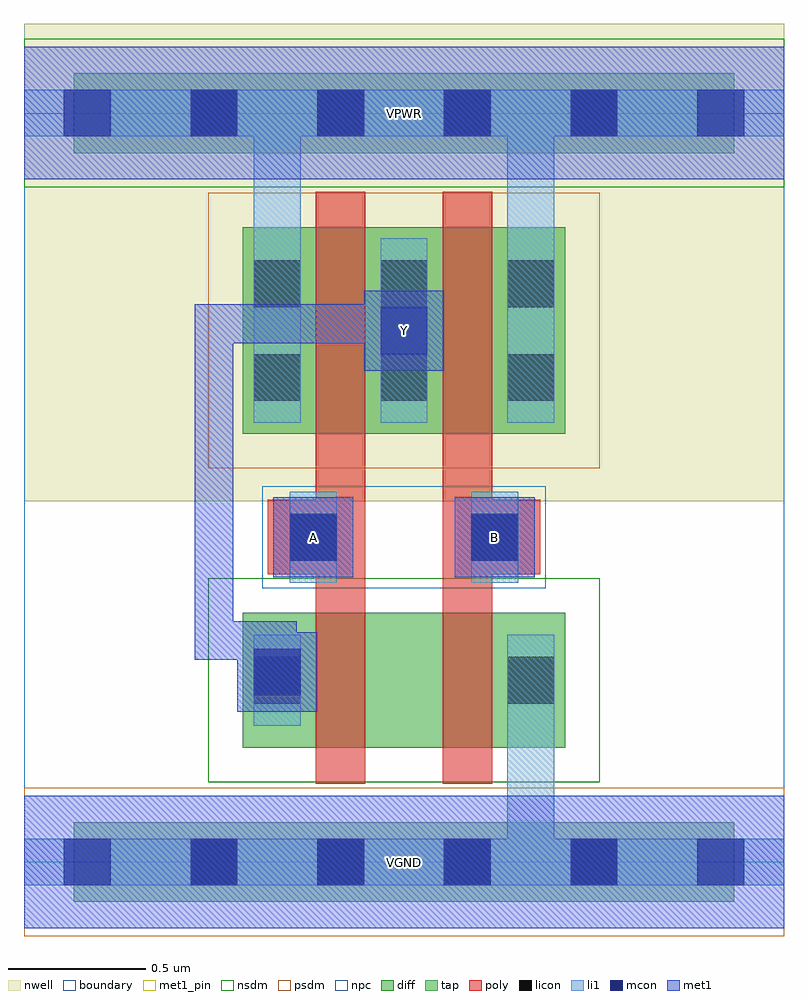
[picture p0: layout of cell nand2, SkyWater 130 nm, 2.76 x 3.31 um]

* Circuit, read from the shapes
.subckt nand2 A B VGND VPWR Y
XM1 n1 A Y VGND sky130_fd_pr__nfet_01v8 w=0.49 l=0.18
XM2 VGND B n1 VGND sky130_fd_pr__nfet_01v8 w=0.49 l=0.18
XM3 Y A VPWR VPWR sky130_fd_pr__pfet_01v8 w=0.75 l=0.18
XM4 VPWR B Y VPWR sky130_fd_pr__pfet_01v8 w=0.75 l=0.18
.ends

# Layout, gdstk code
import gdstk
lib = gdstk.Library(unit=1e-6, precision=1e-09)
def R(c, l, rs):  # rectangles x0, y0, x1, y1
    for r in rs: c.add(gdstk.rectangle(r[:2], r[2:], *l))
def A(c, l, x, y, w, h, nx, ny, dx, dy):  # array of equal rectangles
    R(c, l, [(x+i*dx, y+j*dy, x+i*dx+w, y+j*dy+h) for i in range(nx) for j in range(ny)])
nwell = (64, 20)
diff = (65, 20)
tap = (65, 44)
poly = (66, 20)
licon = (66, 44)
li1 = (67, 20)
mcon = (67, 44)
met1_pin = (68, 16)
met1 = (68, 20)
nsdm = (93, 44)
psdm = (94, 20)
npc = (95, 20)
boundary = (235, 4)

nand2 = lib.new_cell('nand2')
R(nand2, nwell, [(0,1.31,2.76,3.045)])
R(nand2, diff, [(0.795,0.415,1.965,0.905), (0.795,1.555,1.965,2.305)])
R(nand2, tap, [(0.18,-0.145,2.58,0.145), (0.18,2.575,2.58,2.865)])
R(nand2, poly, [(1.06,0.285,1.24,2.435), (1.52,0.285,1.7,2.435), (0.885,1.045,1.215,1.315), (1.545,1.045,1.875,1.315)])
A(nand2, licon, 0.605, -0.085, 0.17, 0.17, 4, 2, 0.46, 2.72)
A(nand2, licon, 0.835, 1.675, 0.17, 0.17, 3, 2, 0.46, 0.34)
R(nand2, licon, [(0.835,0.575,1.005,0.745), (1.755,0.575,1.925,0.745), (0.965,1.095,1.135,1.265), (1.625,1.095,1.795,1.265)])
A(nand2, li1, 0.835, 1.595, 0.17, 0.67, 3, 1, 0.46, 0)
R(nand2, li1, [(0,-0.085,2.76,0.085), (1.755,-0.085,1.925,0.825), (0.835,0.495,1.005,0.825), (1.755,0.495,1.925,0.825), (0.965,1.015,1.135,1.345), (1.625,1.015,1.795,1.345), (0.835,1.595,1.005,2.805), (1.755,1.595,1.925,2.805), (0,2.635,2.76,2.805)])
A(nand2, mcon, 0.145, -0.085, 0.17, 0.17, 6, 2, 0.46, 2.72)
R(nand2, mcon, [(0.835,0.605,1.005,0.775), (0.965,1.095,1.135,1.265), (1.625,1.095,1.795,1.265), (1.295,1.845,1.465,2.015)])
R(nand2, met1_pin, [(0,-0.24,2.76,0.24), (0.905,1.035,1.195,1.325), (1.565,1.035,1.855,1.325), (1.235,1.785,1.525,2.075), (0,2.48,2.76,2.96)])
R(nand2, met1, [(0,-0.24,2.76,0.24), (0.775,0.545,1.065,0.835), (0.85,0.62,0.99,0.875), (0.62,0.735,0.99,0.875), (0.62,0.735,0.76,2.025), (0.905,1.035,1.195,1.325), (1.565,1.035,1.855,1.325), (1.235,1.785,1.525,2.075), (0.62,1.885,1.45,2.025), (1.31,1.885,1.45,2.025), (0,2.48,2.76,2.96)])
R(nand2, nsdm, [(0.67,0.29,2.09,1.03), (0,2.45,2.76,2.99)])
R(nand2, psdm, [(0,-0.27,2.76,0.27), (0.67,1.43,2.09,2.43)])
R(nand2, npc, [(0.865,0.995,1.895,1.365)])
R(nand2, boundary, [(0,0,2.76,2.72)])
nand2.add(gdstk.Label('A', (1.05,1.18), layer=68, texttype=5))
nand2.add(gdstk.Label('B', (1.71,1.18), layer=68, texttype=5))
nand2.add(gdstk.Label('Y', (1.38,1.93), layer=68, texttype=5))
nand2.add(gdstk.Label('VPWR', (1.38,2.72), layer=68, texttype=5))
nand2.add(gdstk.Label('VGND', (1.38,0), layer=68, texttype=5))
nand2.add(gdstk.Label('A', (1.05,1.18), layer=68, texttype=16))
nand2.add(gdstk.Label('B', (1.71,1.18), layer=68, texttype=16))
nand2.add(gdstk.Label('Y', (1.38,1.93), layer=68, texttype=16))
nand2.add(gdstk.Label('VPWR', (1.38,2.72), layer=68, texttype=16))
nand2.add(gdstk.Label('VGND', (1.38,0), layer=68, texttype=16))

lib.write_gds('nand2.gds')
